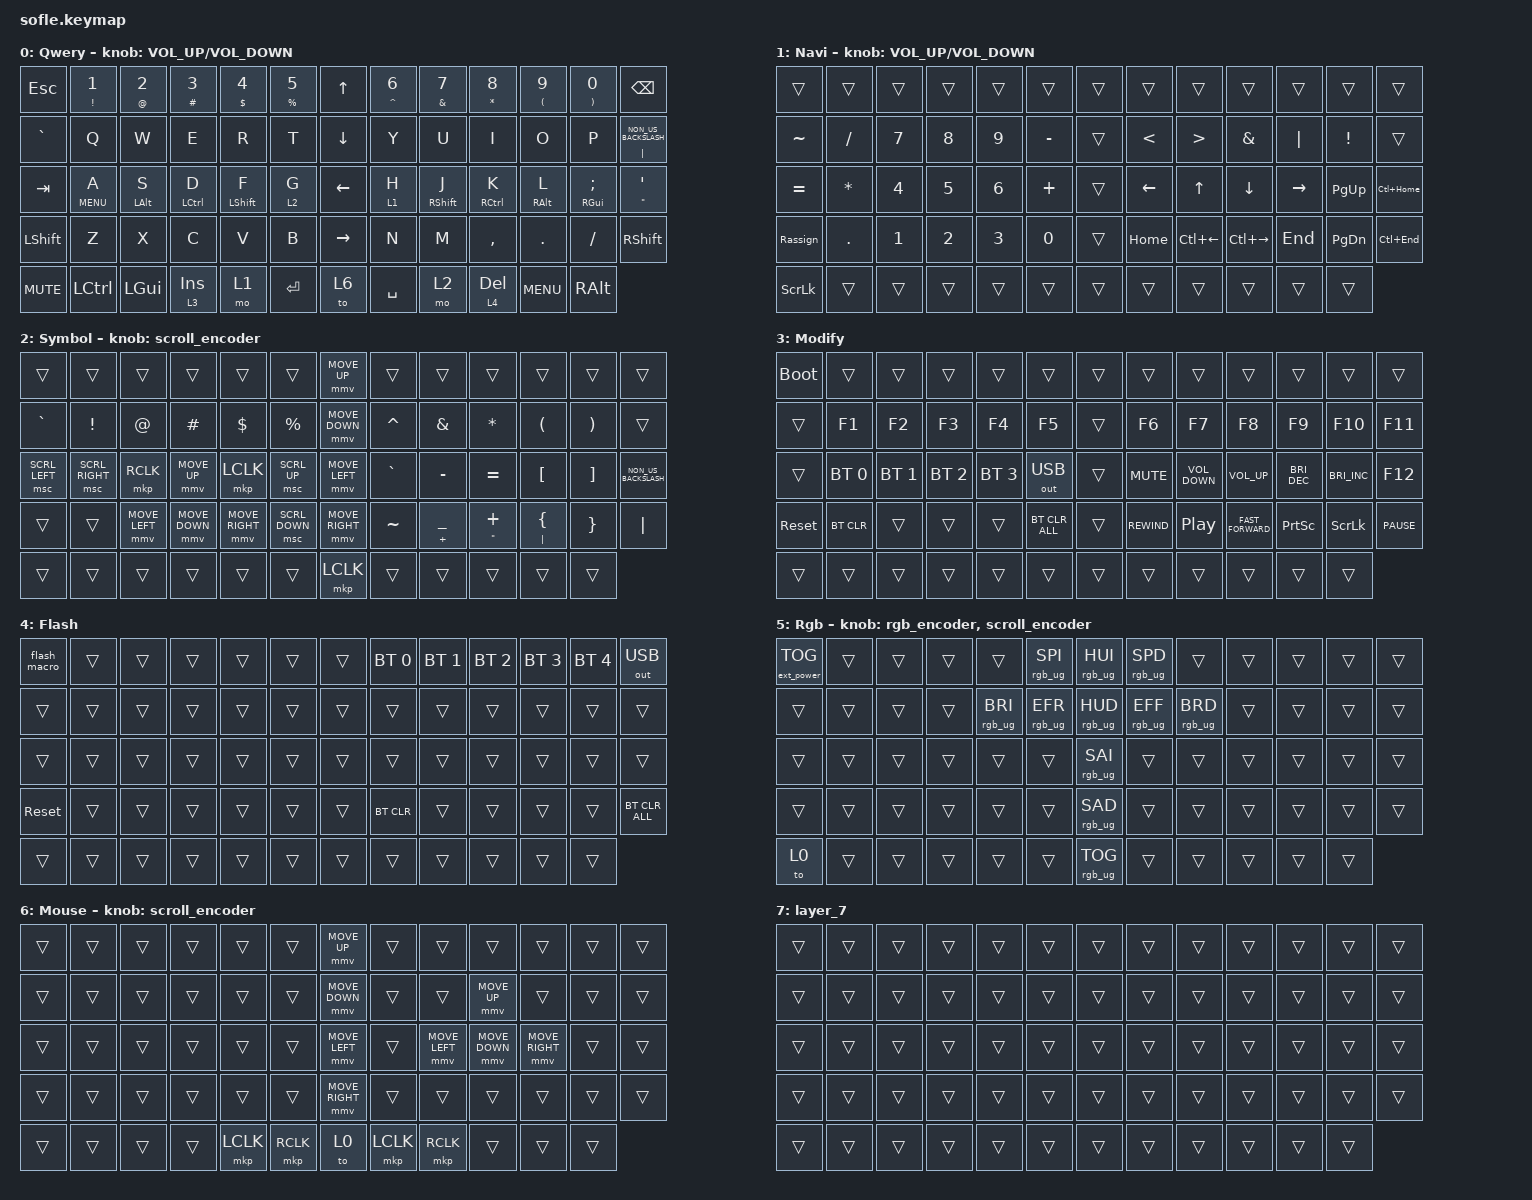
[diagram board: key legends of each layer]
#define ZMK_POINTING_DEFAULT_MOVE_VAL 1200  // 600
#define ZMK_POINTING_DEFAULT_SCRL_VAL 25   // 10

#include <input/processors.dtsi>
#include <zephyr/dt-bindings/input/input-event-codes.h>
#include <behaviors.dtsi>
#include <dt-bindings/zmk/bt.h>
#include <dt-bindings/zmk/ext_power.h>
#include <dt-bindings/zmk/keys.h>
#include <dt-bindings/zmk/outputs.h>
#include <dt-bindings/zmk/pointing.h>
#include <dt-bindings/zmk/rgb.h>

&mmv_input_listener { input-processors = <&zip_xy_scaler 2 1>; };

&msc_input_listener { input-processors = <&zip_scroll_scaler 2 1>; };

&msc {
    acceleration-exponent = <1>;      // 0
    time-to-max-speed-ms = <100>;       // 300
    delay-ms = <0>;                   // 0
};

&mmv {
    time-to-max-speed-ms = <500>;
    acceleration-exponent = <1>;
    trigger-period-ms = <16>;
};

/ {
    macros {
        flash_macro: flash_macro {
            compatible = "zmk,behavior-macro";
            #binding-cells = <0>;
            bindings = <&bootloader>;
        };

        Rassign: Rassign {
            compatible = "zmk,behavior-macro";
            #binding-cells = <0>;
            bindings = <&kp LT &kp MINUS>;
            label = "RASSIGN";
        };
    };

    behaviors {
        hm: homerow_mods {
            compatible = "zmk,behavior-hold-tap";
            label = "HOMEROW_MODS";
            bindings = <&kp>, <&kp>;

            #binding-cells = <2>;
            tapping-term-ms = <200>;
            quick-tap-ms = <180>;
            flavor = "tap-preferred";
        };

        ltq: ltq {
            compatible = "zmk,behavior-hold-tap";
            label = "LTQ";
            bindings = <&mo>, <&kp>;

            #binding-cells = <2>;
            tapping-term-ms = <200>;
            quick-tap-ms = <180>;
        };

        as: auto_shift {
            compatible = "zmk,behavior-hold-tap";
            label = "AUTO_SHIFT";
            bindings = <&kp>, <&kp>;

            #binding-cells = <2>;
            tapping-term-ms = <135>;
            quick-tap-ms = <0>;
        };

        rgb_encoder: rgb_encoder {
            compatible = "zmk,behavior-sensor-rotate";
            label = "RGB_ENCODER";
            #sensor-binding-cells = <0>;
            bindings = <&rgb_ug RGB_BRI>, <&rgb_ug RGB_BRD>;
        };

        scroll_encoder: scroll_encoder {
            compatible = "zmk,behavior-sensor-rotate";
            #sensor-binding-cells = <0>;
            bindings = <&msc SCRL_UP>, <&msc SCRL_DOWN>;

            tap-ms = <100>;
        };
    };

    combos {
        compatible = "zmk,combos";

        left_bkt {
            bindings = <&kp LEFT_BRACKET>;
            key-positions = <29 30>;
        };

        right_bkt {
            bindings = <&kp RIGHT_BRACKET>;
            key-positions = <34 35>;
        };

        left_par {
            bindings = <&kp LEFT_PARENTHESIS>;
            key-positions = <16 17>;
        };

        right_par {
            bindings = <&kp RIGHT_PARENTHESIS>;
            key-positions = <21 22>;
        };

        left_brace {
            bindings = <&kp LEFT_BRACE>;
            key-positions = <42 43>;
        };

        right_brace {
            bindings = <&kp RIGHT_BRACE>;
            key-positions = <47 48>;
        };

        bac {
            bindings = <&kp BACKSLASH>;
            key-positions = <18 20>;
        };

        pipe {
            bindings = <&kp PIPE>;
            key-positions = <31 33>;
        };

        Caps_lock {
            bindings = <&kp CAPSLOCK>;
            key-positions = <39 51>;
        };

        Underscore {
            bindings = <&kp UNDERSCORE>;
            key-positions = <44 46>;
        };
    };

    keymap {
        compatible = "zmk,keymap";

        Qwery {
            bindings = <
&kp ESCAPE  &as EXCLAMATION NUMBER_1  &as AT_SIGN NUMBER_2  &as HASH NUMBER_3  &as DOLLAR NUMBER_4  &as PERCENT N5    &kp UP_ARROW     &as CARET NUMBER_6  &as AMPERSAND N7   &as ASTERISK N8  &as LEFT_PARENTHESIS N9  &as RIGHT_PARENTHESIS N0  &kp BACKSPACE
&kp GRAVE   &kp Q                     &kp W                 &kp E              &kp R                &kp T             &kp DOWN_ARROW   &kp Y               &kp U              &kp I            &kp O                    &kp P                     &as PIPE NON_US_BACKSLASH
&kp TAB     &hm C_MENU A              &hm LEFT_ALT S        &hm LCTRL D        &hm LEFT_SHIFT F     &lt 2 G           &kp LEFT_ARROW   &lt 1 H             &hm RIGHT_SHIFT J  &hm RCTRL K      &hm RIGHT_ALT L          &hm RIGHT_GUI SEMI        &as DOUBLE_QUOTES SQT
&kp LSHFT   &kp Z                     &kp X                 &kp C              &kp V                &kp B             &kp RIGHT_ARROW  &kp N               &kp M              &kp COMMA        &kp PERIOD               &kp SLASH                 &kp RIGHT_SHIFT
&kp C_MUTE  &kp LCTRL                 &kp LEFT_GUI          &lt 3 INS          &mo 1                &kp ENTER         &to 6            &kp SPACE           &mo 2              &lt 4 DEL        &kp C_MENU               &kp RIGHT_ALT
            >;

            sensor-bindings = <&inc_dec_kp C_VOLUME_UP C_VOLUME_DOWN>;
            display-name = "Qwery";
        };

        Numbers {
            bindings = <
&trans          &trans        &trans        &trans        &trans        &trans       &trans  &trans          &trans              &trans               &trans           &trans           &trans
&kp TILDE       &kp SLASH     &kp N7        &kp N8        &kp N9        &kp MINUS    &trans  &kp LESS_THAN   &kp GREATER_THAN    &kp AMPERSAND        &kp PIPE         &kp EXCLAMATION  &trans
&kp EQUAL       &kp ASTERISK  &kp NUMBER_4  &kp N5        &kp NUMBER_6  &kp PLUS     &trans  &kp LEFT_ARROW  &kp UP_ARROW        &kp DOWN_ARROW       &kp RIGHT_ARROW  &kp PAGE_UP      &kp LC(HOME)
&Rassign        &kp PERIOD    &kp NUMBER_1  &kp NUMBER_2  &kp NUMBER_3  &kp N0       &trans  &kp HOME        &kp LC(LEFT_ARROW)  &kp LC(RIGHT_ARROW)  &kp END          &kp PAGE_DOWN    &kp LC(END)
&kp SCROLLLOCK  &trans        &trans        &trans        &trans        &trans       &trans  &trans          &trans              &trans               &trans           &trans
            >;

            label = "Navi";
            sensor-bindings = <&inc_dec_kp C_VOLUME_UP C_VOLUME_DOWN>;
        };

        Symbol {
            bindings = <
&trans          &trans           &trans          &trans          &trans           &trans            &mmv MOVE_UP     &trans     &trans               &trans                  &trans                &trans                 &trans
&kp GRAVE       &kp EXCLAMATION  &kp AT_SIGN     &kp HASH        &kp DOLLAR       &kp PERCENT       &mmv MOVE_DOWN   &kp CARET  &kp AMPERSAND        &kp ASTERISK            &kp LEFT_PARENTHESIS  &kp RIGHT_PARENTHESIS  &trans
&msc SCRL_LEFT  &msc SCRL_RIGHT  &mkp RCLK       &mmv MOVE_UP    &mkp LCLK        &msc SCRL_UP      &mmv MOVE_LEFT   &kp GRAVE  &kp MINUS            &kp EQUAL               &kp LEFT_BRACKET      &kp RIGHT_BRACKET      &kp NON_US_BACKSLASH
&trans          &trans           &mmv MOVE_LEFT  &mmv MOVE_DOWN  &mmv MOVE_RIGHT  &msc SCRL_DOWN    &mmv MOVE_RIGHT  &kp TILDE  &as PLUS UNDERSCORE  &as DOUBLE_QUOTES PLUS  &as PIPE LEFT_BRACE   &kp RIGHT_BRACE        &kp PIPE
&trans          &trans           &trans          &trans          &trans           &trans            &mkp LCLK        &trans     &trans               &trans                  &trans                &trans
            >;

            label = "Symbol";
            sensor-bindings = <&scroll_encoder>;
        };

        Modify {
            bindings = <
&bootloader  &trans        &trans        &trans        &trans        &trans            &trans  &trans        &trans             &trans              &trans                &trans                &trans
&trans       &kp F1        &kp F2        &kp F3        &kp F4        &kp F5            &trans  &kp F6        &kp F7             &kp F8              &kp F9                &kp F10               &kp F11
&trans       &bt BT_SEL 0  &bt BT_SEL 1  &bt BT_SEL 2  &bt BT_SEL 3  &out OUT_USB      &trans  &kp K_MUTE    &kp C_VOLUME_DOWN  &kp C_VOLUME_UP     &kp C_BRIGHTNESS_DEC  &kp C_BRIGHTNESS_INC  &kp F12
&sys_reset   &bt BT_CLR    &trans        &trans        &trans        &bt BT_CLR_ALL    &trans  &kp C_REWIND  &kp C_PLAY_PAUSE   &kp C_FAST_FORWARD  &kp PRINTSCREEN       &kp SCROLLLOCK        &kp C_PAUSE
&trans       &trans        &trans        &trans        &trans        &trans            &trans  &trans        &trans             &trans              &trans                &trans
            >;

            label = "Modify";
        };

        Flash {
            bindings = <
&flash_macro  &trans  &trans  &trans  &trans  &trans    &trans  &bt BT_SEL 0  &bt BT_SEL 1  &bt BT_SEL 2  &bt BT_SEL 3  &bt BT_SEL 4  &out OUT_USB
&trans        &trans  &trans  &trans  &trans  &trans    &trans  &trans        &trans        &trans        &trans        &trans        &trans
&trans        &trans  &trans  &trans  &trans  &trans    &trans  &trans        &trans        &trans        &trans        &trans        &trans
&sys_reset    &trans  &trans  &trans  &trans  &trans    &trans  &bt BT_CLR    &trans        &trans        &trans        &trans        &bt BT_CLR_ALL
&trans        &trans  &trans  &trans  &trans  &trans    &trans  &trans        &trans        &trans        &trans        &trans
            >;

            display-name = "Flash";
        };

        Rgb {
            bindings = <
&ext_power EP_TOG  &trans  &trans  &trans  &trans           &rgb_ug RGB_SPI    &rgb_ug RGB_HUI  &rgb_ug RGB_SPD  &trans           &trans  &trans  &trans  &trans
&trans             &trans  &trans  &trans  &rgb_ug RGB_BRI  &rgb_ug RGB_EFR    &rgb_ug RGB_HUD  &rgb_ug RGB_EFF  &rgb_ug RGB_BRD  &trans  &trans  &trans  &trans
&trans             &trans  &trans  &trans  &trans           &trans             &rgb_ug RGB_SAI  &trans           &trans           &trans  &trans  &trans  &trans
&trans             &trans  &trans  &trans  &trans           &trans             &rgb_ug RGB_SAD  &trans           &trans           &trans  &trans  &trans  &trans
&to 0              &trans  &trans  &trans  &trans           &trans             &rgb_ug RGB_TOG  &trans           &trans           &trans  &trans  &trans
            >;

            label = "Rgb";
            sensor-bindings = <&rgb_encoder &scroll_encoder>;
        };

        Mouse {
            bindings = <
&trans  &trans  &trans  &trans  &trans     &trans       &mmv MOVE_UP     &trans     &trans          &trans          &trans           &trans  &trans
&trans  &trans  &trans  &trans  &trans     &trans       &mmv MOVE_DOWN   &trans     &trans          &mmv MOVE_UP    &trans           &trans  &trans
&trans  &trans  &trans  &trans  &trans     &trans       &mmv MOVE_LEFT   &trans     &mmv MOVE_LEFT  &mmv MOVE_DOWN  &mmv MOVE_RIGHT  &trans  &trans
&trans  &trans  &trans  &trans  &trans     &trans       &mmv MOVE_RIGHT  &trans     &trans          &trans          &trans           &trans  &trans
&trans  &trans  &trans  &trans  &mkp LCLK  &mkp RCLK    &to 0            &mkp LCLK  &mkp RCLK       &trans          &trans           &trans
            >;

            label = "Mouse";
            sensor-bindings = <&scroll_encoder>;
        };

        layer_7 {
            bindings = <
&trans  &trans  &trans  &trans  &trans  &trans    &trans  &trans  &trans  &trans  &trans  &trans  &trans
&trans  &trans  &trans  &trans  &trans  &trans    &trans  &trans  &trans  &trans  &trans  &trans  &trans
&trans  &trans  &trans  &trans  &trans  &trans    &trans  &trans  &trans  &trans  &trans  &trans  &trans
&trans  &trans  &trans  &trans  &trans  &trans    &trans  &trans  &trans  &trans  &trans  &trans  &trans
&trans  &trans  &trans  &trans  &trans  &trans    &trans  &trans  &trans  &trans  &trans  &trans
            >;
        };
    };

    conditional_layers {
        compatible = "zmk,conditional-layers";

        Flash {
            if-layers = <2 3>;
            then-layer = <4>;
        };

        Adjust_layer {
            if-layers = <1 2>;
            then-layer = <3>;
        };
    };
};
